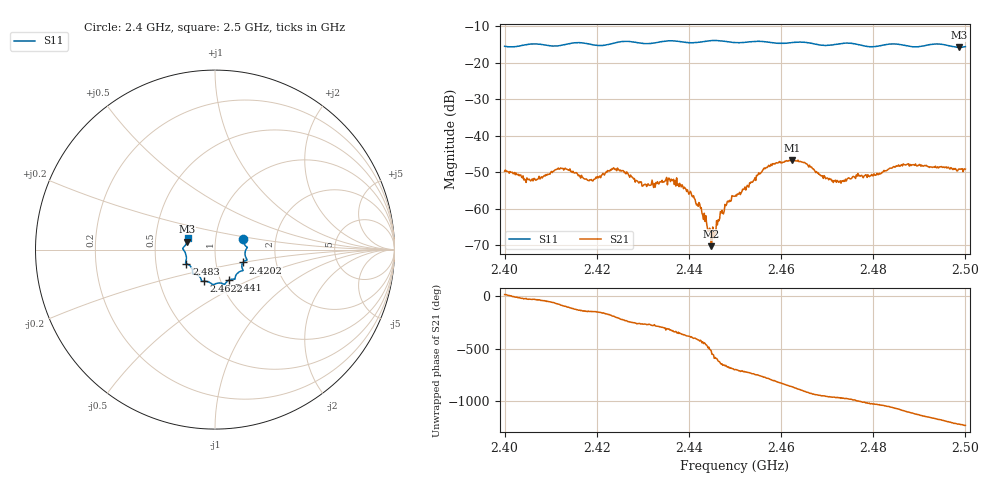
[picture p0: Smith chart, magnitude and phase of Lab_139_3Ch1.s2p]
# Hz S RI R 50
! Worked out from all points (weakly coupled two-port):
!   601 points, 2.4 GHz to 2.5 GHz, reference 50 ohm
!   highest |S21| = -46.67 dB at 2.4623 GHz (marker M1); lowest = -70.3 dB at 2.4448 GHz (marker M2)
!   lowest |S11| = -15.8 dB at 2.4987 GHz (marker M3), VSWR 1.39, Z = 36.4 + j3.32 ohm
!   |S11| at or under -10 dB: start of sweep to end of sweep
!   S12 and S22 are empty: the file has one direction only
!   S11 on the Smith chart (normalised r, x): 2.4 GHz: 1.36, +0.17; 2.4202 GHz: 1.35, -0.20; 2.441 GHz: 1.09, -0.39; 2.4622 GHz: 0.83, -0.30; 2.483 GHz: 0.72, -0.12; 2.5 GHz: 0.73, +0.09
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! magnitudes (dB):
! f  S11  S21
! 2.4 GHz  -15.5  -49.7
! 2.4047 GHz  -15.1  -52.8
! 2.4122 GHz  -15.3  -48.8
! 2.4167 GHz  -14.6  -50.9
! 2.4202 GHz  -15.3  -51.2
! 2.424 GHz  -14.6  -49.3
! 2.4303 GHz  -14.8  -53.5
! 2.4333 GHz  -14.4  -53.2
! 2.4362 GHz  -14.0  -51.9
! 2.441 GHz  -14.6  -56.5
! 2.4448 GHz  -14.0  -70.3
! 2.4453 GHz  -13.9  -66.9
! 2.45 GHz  -14.5  -56.6
! 2.4568 GHz  -14.3  -48.7
! 2.4622 GHz  -14.5  -46.9
! 2.4623 GHz  -14.5  -46.7
! 2.4667 GHz  -14.7  -48.7
! 2.4725 GHz  -14.9  -52.8
! 2.483 GHz  -15.0  -49.5
! 2.4833 GHz  -15.0  -49.1
! 2.4987 GHz  -15.8  -49.1
! 2.5 GHz  -15.6  -49.2
